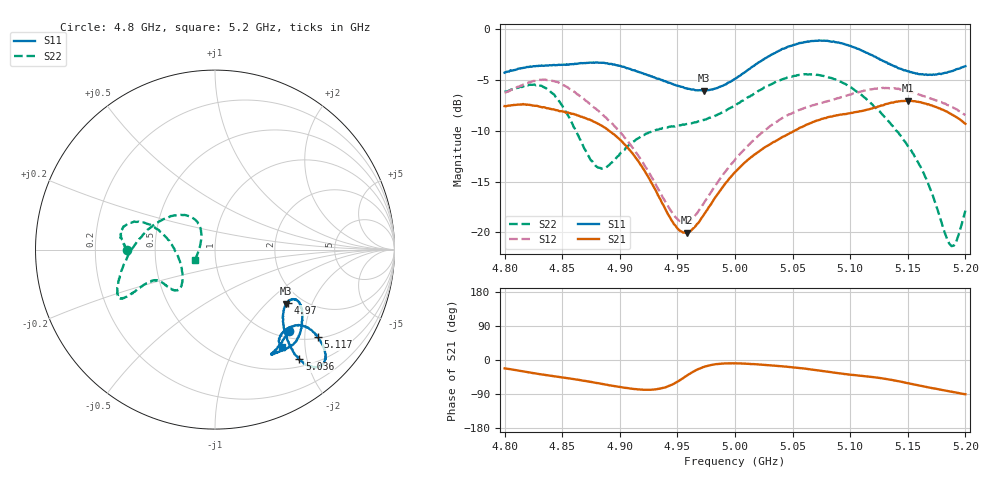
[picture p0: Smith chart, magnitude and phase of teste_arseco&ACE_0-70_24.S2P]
! Network Analyzer HP8722D
! Hewlett-Packard
! Data name: Linha & Wilkinson
! Saver's name: Rodrigo Anjos
! Comments: Teste da utilização de aquisição
! continua pelo VNA HP8722D
! Time and date: 8/5/2025 12:57
!  Frequency  S11  S21  S12  S22
# HZ  S  MA R 50
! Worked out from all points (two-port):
!   401 points, 4.8 GHz to 5.2 GHz, reference 50 ohm
!   highest |S21| = -7.04 dB at 5.15 GHz (marker M1); lowest = -20.0 dB at 4.958 GHz (marker M2)
!   |S21| within 3 dB of the highest: start of sweep to 4.891 GHz; 5.051 GHz to end of sweep
!   lowest |S11| = -6.1 dB at 4.973 GHz (marker M3), VSWR 2.98, Z = 82.5 - j66.1 ohm
!   |S11| at or under -10 dB: nowhere
!   |S22| runs from -21.4 to -4.4 dB; largest |S21 - S12| = 0.95
!   S11 on the Smith chart (normalised r, x): 4.8 GHz: 1.14, -1.64; 4.97 GHz: 1.69, -1.34; 5.036 GHz: 0.62, -1.87; 5.117 GHz: 1.04, -2.31; 5.2 GHz: 0.83, -1.57
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4.8e9  0.6105 -47.7  0.418 -22.0  0.4877 -175.7  0.4911 -179.8
4.837e9  0.6612 -61.7  0.4077 -40.5  0.5616 167.5  0.5062 163.4
4.851e9  0.6678 -59.8  0.3926 -46.5  0.5302 158.6  0.4098 159.2
4.867e9  0.6796 -55.0  0.3706 -53.9  0.4595 150.7  0.2746 166.7
4.886e9  0.683 -48.4  0.3301 -63.8  0.3758 144.0  0.2076 -158.0
4.909e9  0.6368 -40.5  0.2525 -75.2  0.2711 137.8  0.2717 -133.3
4.934e9  0.5689 -33.1  0.1495 -76.1  0.1615 141.2  0.3213 -135.4
4.948e9  0.5315 -31.7  0.1085 -60.8  0.1195 157.5  0.3319 -141.0
4.958e9  0.5113 -32.9  0.09955 -41.8  0.1123 176.8  0.3411 -145.5
4.97e9  0.5005 -36.2  0.1154 -21.8  0.1312 -163.4  0.3524 -150.0
4.973e9  0.4976 -37.3  0.1222 -18.3  0.1394 -159.9  0.3571 -150.9
5e9  0.5692 -47.8  0.1976 -8.9  0.2279 -146.7  0.4226 -153.7
5.036e9  0.7706 -52.4  0.2831 -15.4  0.3498 -147.5  0.5524 -152.0
5.067e9  0.8728 -48.2  0.3478 -25.3  0.4215 -154.4  0.5986 -154.9
5.094e9  0.847 -43.3  0.3817 -36.4  0.4652 -161.9  0.5426 -165.6
5.117e9  0.7504 -40.4  0.4043 -44.1  0.5048 -172.5  0.4386 174.5
5.134e9  0.6747 -40.2  0.4322 -51.5  0.5114 177.4  0.3486 153.1
5.15e9  0.6203 -42.8  0.4444 -61.1  0.4944 168.5  0.2663 133.5
5.166e9  0.5984 -48.3  0.4294 -71.0  0.4631 161.3  0.1835 122.6
5.187e9  0.6179 -54.9  0.3838 -83.3  0.4173 153.6  0.08691 158.9
5.192e9  0.6343 -55.4  0.3692 -85.9  0.4036 152.1  0.08965 -177.9
5.2e9  0.6566 -55.6  0.342 -90.5  0.3773 149.4  0.1281 -152.1
